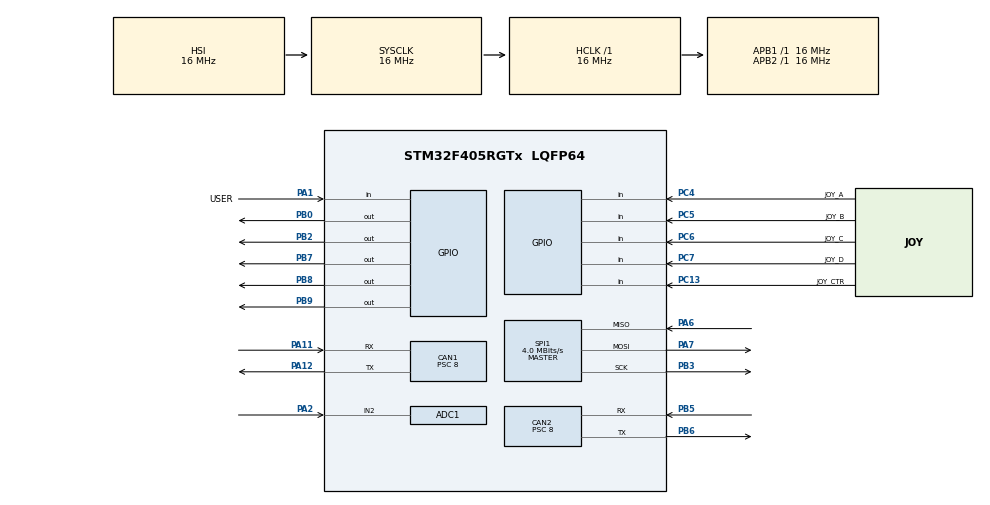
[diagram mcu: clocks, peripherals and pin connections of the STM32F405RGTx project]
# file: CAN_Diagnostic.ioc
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ADC1.Channel-0\#ChannelRegularConversion=ADC_CHANNEL_2
ADC1.NbrOfConversionFlag=1
ADC1.Rank-0\#ChannelRegularConversion=1
ADC1.SamplingTime-0\#ChannelRegularConversion=ADC_SAMPLETIME_3CYCLES
ADC1.master=1
CAN1.BS1=CAN_BS1_2TQ
CAN1.CalculateBaudRate=500000
CAN1.CalculateTimeBit=2000.00
CAN1.CalculateTimeQuantum=500.0
CAN1.Prescaler=8
CAN2.BS1=CAN_BS1_2TQ
CAN2.CalculateBaudRate=500000
CAN2.CalculateTimeBit=2000.00
CAN2.CalculateTimeQuantum=500.0
CAN2.Prescaler=8
Mcu.Family=STM32F4
Mcu.Name=STM32F405RGTx
Mcu.Package=LQFP64
NVIC.CAN1_RX0_IRQn=true\:0\:0\:false\:false\:true\:true\:true
NVIC.CAN2_RX0_IRQn=true\:0\:0\:false\:false\:true\:true\:true
NVIC.PriorityGroup=NVIC_PRIORITYGROUP_4
NVIC.TIM2_IRQn=true\:0\:0\:false\:false\:true\:true\:true
PA1.GPIO_Label=USER
PA1.GPIO_PuPd=GPIO_PULLUP
PA1.Signal=GPIO_Input
PA11.GPIO_PuPd=GPIO_PULLUP
PA11.Mode=CAN_Activate
PA11.Signal=CAN1_RX
PA12.GPIO_PuPd=GPIO_PULLUP
PA12.Mode=CAN_Activate
PA12.Signal=CAN1_TX
PA2.Signal=ADCx_IN2
PA6.Mode=Full_Duplex_Master
PA6.Signal=SPI1_MISO
PA7.Mode=Full_Duplex_Master
PA7.Signal=SPI1_MOSI
PB0.Signal=GPIO_Output
PB2.Signal=GPIO_Output
PB3.Mode=Full_Duplex_Master
PB3.Signal=SPI1_SCK
PB5.GPIO_PuPd=GPIO_PULLUP
PB5.Mode=CAN_Activate
PB5.Signal=CAN2_RX
PB6.GPIO_PuPd=GPIO_PULLUP
PB6.Mode=CAN_Activate
PB6.Signal=CAN2_TX
PB7.Signal=GPIO_Output
PB8.Signal=GPIO_Output
PB9.Signal=GPIO_Output
PC10.Signal=USART3_TX
PC11.Signal=USART3_RX
PC13-ANTI_TAMP.GPIO_Label=JOY_CTR
PC13-ANTI_TAMP.GPIO_PuPd=GPIO_PULLUP
PC13-ANTI_TAMP.Signal=GPIO_Input
PC4.GPIO_Label=JOY_A
PC4.GPIO_PuPd=GPIO_PULLUP
PC4.Signal=GPIO_Input
PC5.GPIO_Label=JOY_B
PC5.GPIO_PuPd=GPIO_PULLUP
PC5.Signal=GPIO_Input
PC6.GPIO_Label=JOY_C
PC6.GPIO_PuPd=GPIO_PULLUP
PC6.Signal=GPIO_Input
PC7.GPIO_Label=JOY_D
PC7.GPIO_PuPd=GPIO_PULLUP
PC7.Signal=GPIO_Input
ProjectManager.HeapSize=0x200
ProjectManager.StackSize=0x400
ProjectManager.TargetToolchain=STM32CubeIDE
RCC.AHBFreq_Value=16000000
RCC.APB1Freq_Value=16000000
RCC.APB2Freq_Value=16000000
RCC.CortexFreq_Value=16000000
RCC.HSE_VALUE=25000000
RCC.HSI_VALUE=16000000
RCC.LSE_VALUE=32768
RCC.SYSCLKFreq_VALUE=16000000
RCC.VCOOutputFreq_Value=192000000
SH.ADCx_IN2.0=ADC1_IN2,IN2
SPI1.BaudRatePrescaler=SPI_BAUDRATEPRESCALER_4
SPI1.CLKPolarity=SPI_POLARITY_HIGH
SPI1.CalculateBaudRate=4.0 MBits/s
SPI1.Direction=SPI_DIRECTION_2LINES
SPI1.Mode=SPI_MODE_MASTER
SPI1.VirtualType=VM_MASTER
TIM2.Period=9999
TIM2.Prescaler=15
VP_TIM2_VS_ClockSourceINT.Mode=Internal
board=custom

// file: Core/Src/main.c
/* USER CODE BEGIN Header */
/**
  ******************************************************************************
  * @file           : main.c
  * @brief          : Main program body
  ******************************************************************************
  * @attention
  *
  * <h2><center>&copy; Copyright (c) 2023 STMicroelectronics.
  * All rights reserved.</center></h2>
  *
  * This software component is licensed by ST under BSD 3-Clause license,
  * the "License"; You may not use this file except in compliance with the
  * License. You may obtain a copy of the License at:
  *                        opensource.org/licenses/BSD-3-Clause
  *
  ******************************************************************************
  */
/* USER CODE END Header */
#include "main.h"

/* USER CODE BEGIN Includes */
#include "joystick.h"
#include "software_timer.h"
#include <stdio.h>
#include <stdlib.h>
#include <time.h>
#include "LCD_driver.h"
#include "LCD_lib.h"
#include "fonts.h"
#include "st7789.h"
/* USER CODE END Includes */

/* USER CODE BEGIN PD */
#define WAIT_KEY_TIMEOUT		5000 //milisecond
#define NUM_OF_MAX_DATA_STORAGE	16

#define SERVICE_22		1
#define SERVICE_2E		2
#define SERVICE_27		3

#define CURRENT_SERVICE SERVICE_27
/* USER CODE END PD */

ADC_HandleTypeDef hadc1;

CAN_HandleTypeDef hcan1;
CAN_HandleTypeDef hcan2;

SPI_HandleTypeDef hspi1;

TIM_HandleTypeDef htim2;

void SystemClock_Config(void);
static void MX_GPIO_Init(void);
static void MX_CAN1_Init(void);
static void MX_TIM2_Init(void);
static void MX_SPI1_Init(void);
static void MX_CAN2_Init(void);
static void MX_ADC1_Init(void);

/* USER CODE BEGIN 0 */

CAN_TxHeaderTypeDef TxHeader;
CAN_RxHeaderTypeDef RxHeader;

uint8_t TxData[8] = {0};
uint8_t RxData[8];

uint32_t TxMailbox;

CAN_TxHeaderTypeDef TxHeader2;
CAN_RxHeaderTypeDef RxHeader2;

uint8_t TxData2[8] = {0};
uint8_t RxData2[8];

uint32_t TxMailbox2;

int dataflag = 0;
int dataflag2 = 0;

int isFf = 0;
char buffer[50];
uint32_t ADCValue = 0;

uint8_t	dataStorage[NUM_OF_MAX_DATA_STORAGE] = {0};
int dataLength = 0;

uint8_t CFdata = 0;

//variable for ECU
uint8_t 	service 		= 0x00;
uint16_t 	dataCount 		= 0;
int			CF_sending_flag = 0; //flag indicate Consecutive Frame sending is not done
int			state 		= 0;

//variable for TESTER
int 		joyPressed 		= 0; // flag for any joystick is pressed
uint8_t	dataToSend[6];
int 		seedRequested	= 0;
int		keySent			= 0;

void HAL_CAN_RxFifo0MsgPendingCallback(CAN_HandleTypeDef *hcan);
void HAL_TIM_PeriodElapsedCallback(TIM_HandleTypeDef *htim);

void rq_sv22(){
	TxData2[0] = 0x03;
	TxData2[1] = 0x22;
	TxData2[2] = 0xF0;
	TxData2[3] = 0x01;

	HAL_CAN_AddTxMessage(&hcan2, &TxHeader2, TxData2, &TxMailbox2);
}

void do_sv22(){
	HAL_ADC_Start(&hadc1);
	ADCValue = HAL_ADC_GetValue(&hadc1);
	TxData[0] = 0x07; //0 7
	TxData[1] = 0x62;
	TxData[2] = 0xF0;
	TxData[3] = 0x01;

	TxData[4] = ADCValue >> 24;
	TxData[5] = ADCValue >> 16;
	TxData[6] = ADCValue >> 8;
	TxData[7] = ADCValue;

	HAL_CAN_AddTxMessage(&hcan1, &TxHeader, TxData, &TxMailbox);
}

void do_sv2E(){
	sprintf(buffer,"%#04x %#04x %#04x %#04x %#04x %#04x",
			dataStorage[5], dataStorage[6], dataStorage[7], dataStorage[8], dataStorage[9], dataStorage[10]);
	ST7789_WriteString(10, 20, buffer, Font_7x10, WHITE, BLACK);
	TxData[0] = 0x02;
	TxData[1] = 0x6E;
	TxData[2] = 0x01;

	HAL_CAN_AddTxMessage(&hcan1, &TxHeader, TxData, &TxMailbox);
}

void do_sv27(){
	if(seedRequested&&!keySent){
		TxData[0] = 0x06;
		TxData[1] = 0x67;
		TxData[2] = 0x01;
		TxData[3] = (rand()-1) % 0xFF + 1;
		TxData[4] = (rand()-1) % 0xFF + 1;
		TxData[5] = (rand()-1) % 0xFF + 1;
		TxData[6] = (rand()-1) % 0xFF + 1;
		HAL_CAN_AddTxMessage(&hcan1, &TxHeader, TxData, &TxMailbox);
	}else if(seedRequested&&keySent){
		if((RxData[3] == TxData[3] + 1
			&& RxData[4] == TxData[4] + 1)
			&&(RxData[5] == TxData[5] + 1
			&& RxData[6] == TxData[6] + 1))
		{
			HAL_GPIO_WritePin(GPIOB, GPIO_PIN_0, SET);
			TxData[0] = 0x02;
			TxData[1] = 0x67;
			TxData[2] = 0x02;
			HAL_CAN_AddTxMessage(&hcan1, &TxHeader, TxData, &TxMailbox);
		}else{
			HAL_Delay(10000);
		}
	}
}

/* USER CODE END 0 */

int main(void)
{

  /* MCU Configuration--------------------------------------------------------*/

  /* Reset of all peripherals, Initializes the Flash interface and the Systick. */
  HAL_Init();

  /* Configure the system clock */
  SystemClock_Config();

  /* Initialize all configured peripherals */
  MX_GPIO_Init();
  MX_CAN1_Init();
  MX_TIM2_Init();
  MX_SPI1_Init();
  MX_CAN2_Init();
  MX_ADC1_Init();
  /* USER CODE BEGIN 2 */
//  HAL_ADC_Start_IT(&hadc1);
  HAL_CAN_Start(&hcan1);
  HAL_CAN_Start(&hcan2);
  HAL_CAN_ActivateNotification(&hcan1, CAN_IT_RX_FIFO0_MSG_PENDING);
  HAL_CAN_ActivateNotification(&hcan2, CAN_IT_RX_FIFO0_MSG_PENDING);

  HAL_TIM_Base_Start_IT(&htim2);
  HAL_ADC_Start(&hadc1);

  TxHeader.DLC = 8;
  TxHeader.IDE = CAN_ID_STD;
  TxHeader.RTR = CAN_RTR_DATA;
  TxHeader.StdId = 0x7A2;		//response ID

  TxHeader2.DLC = 8;
  TxHeader2.IDE = CAN_ID_STD;
  TxHeader2.RTR = CAN_RTR_DATA;
  TxHeader2.StdId = 0x712;		//request ID

  /* USER CODE END 2 */

  /* Infinite loop */
  /* USER CODE BEGIN WHILE */
  srand(time(NULL)); // Call for initialize random function
  set_timer0(1000);

  // service 27 key variable

  lcd_init();
  ST7789_Init();

  sprintf(buffer, "HELLO WORLD");
  ST7789_WriteString(10, 20, buffer, Font_7x10, WHITE, BLACK);
  int currentService = SERVICE_22;
  while (1)
  {
	  if(is_joy_pressed(USER_BUTTON)){
		  currentService++;
		  if(currentService==4){
			  currentService = 1;
		  }
	  }
    /* USER CODE END WHILE */

    /* USER CODE BEGIN 3 */
	  //todo:ECU
	  switch(currentService){
	  case SERVICE_22:
		  sprintf(buffer,"SERVICE 22");
		  ST7789_WriteString(10, 200, buffer, Font_11x18, WHITE, BLACK);
		  if(dataflag){
			  dataflag = 0;
			  do_sv22();
		  }
		  break;
	  case SERVICE_2E:
		  sprintf(buffer,"SERVICE 2E");
		  ST7789_WriteString(10, 200, buffer, Font_11x18, WHITE, BLACK);
		  if(dataflag){
			  dataflag = 0;
			  do_sv2E();
		  }
		  break;
	  case SERVICE_27:
		  sprintf(buffer,"SERVICE 27");
		  ST7789_WriteString(10, 200, buffer, Font_11x18, WHITE, BLACK);
		  if(dataflag){
			  dataflag = 0;
			  do_sv27();
		  }
		  break;
	  default:
		  break;
	  }
	  //todo: TESTER

	  switch(currentService){
	  case SERVICE_22:
		  if(timer0Flag){
			  set_timer0(1000);
			  rq_sv22();
		  }
		  if(dataflag2){
			  dataflag2 = 0;
			  uint32_t received;
			  for(int i = 0 ; i<4; i++){
				  received = received << 8;
				  received = received + RxData2[i+4];
			  }
			  sprintf(buffer, "ADC Value: %ld", received);
			  ST7789_WriteString(10, 40, buffer, Font_7x10, WHITE, BLACK);
		  }
		  break;
	  case SERVICE_2E:
		  if(is_joy_pressed(JOY_LEFT)){
			  CFdata = 0xAA;
			  joyPressed = 1;
		  }
		  if(is_joy_pressed(JOY_RIGHT)){
			  CFdata = 0xFF;
			  joyPressed = 1;
		  }
		  if(is_joy_pressed(JOY_CTR)){
			  CFdata = 0x00;
			  joyPressed = 1;
		  }
		  if(joyPressed){
			  joyPressed = 0;
			  TxData2[0] = 0x10;
			  TxData2[1] = 0x09;
			  TxData2[2] = 0x2E;
			  TxData2[3] = 0xF0;
			  TxData2[4] = 0x02;
			  TxData2[5] = CFdata;
			  TxData2[6] = CFdata;
			  TxData2[7] = CFdata;
			  HAL_CAN_AddTxMessage(&hcan2, &TxHeader2, TxData2, &TxMailbox2);
		  }
		  if(dataflag2){
			  dataflag2 = 0;
		  }
		  break;
	  case SERVICE_27:
		  if(!seedRequested){
			  TxData2[0] = 0x02;
			  TxData2[1] = 0x27;
			  TxData2[2] = 0x01;
			  HAL_CAN_AddTxMessage(&hcan2, &TxHeader2, TxData2, &TxMailbox2);
			  seedRequested = 1;
		  }else
			  if(!keySent&&dataflag2){
				  dataflag2 = 0;
				  TxData2[0] = 0x06;
				  TxData2[1] = 0x27;
				  TxData2[2] = 0x02;
				  TxData2[3] = RxData2[3] + 1;
				  TxData2[4] = RxData2[4] + 1;
				  TxData2[5] = RxData2[5] + 1;
				  TxData2[6] = RxData2[6] + 1;
				  HAL_CAN_AddTxMessage(&hcan2, &TxHeader2, TxData2, &TxMailbox2);
				  keySent = 1;
			  }
		  break;

	  default:
		  break;
	  }
  }
  /* USER CODE END 3 */
}

void SystemClock_Config(void)
{
  RCC_OscInitTypeDef RCC_OscInitStruct = {0};
  RCC_ClkInitTypeDef RCC_ClkInitStruct = {0};

  /** Configure the main internal regulator output voltage
  */
  __HAL_RCC_PWR_CLK_ENABLE();
  __HAL_PWR_VOLTAGESCALING_CONFIG(PWR_REGULATOR_VOLTAGE_SCALE1);
  /** Initializes the RCC Oscillators according to the specified parameters
  * in the RCC_OscInitTypeDef structure.
  */
  RCC_OscInitStruct.OscillatorType = RCC_OSCILLATORTYPE_HSI;
  RCC_OscInitStruct.HSIState = RCC_HSI_ON;
  RCC_OscInitStruct.HSICalibrationValue = RCC_HSICALIBRATION_DEFAULT;
  RCC_OscInitStruct.PLL.PLLState = RCC_PLL_NONE;
  if (HAL_RCC_OscConfig(&RCC_OscInitStruct) != HAL_OK)
  {
    Error_Handler();
  }
  /** Initializes the CPU, AHB and APB buses clocks
  */
  RCC_ClkInitStruct.ClockType = RCC_CLOCKTYPE_HCLK|RCC_CLOCKTYPE_SYSCLK
                              |RCC_CLOCKTYPE_PCLK1|RCC_CLOCKTYPE_PCLK2;
  RCC_ClkInitStruct.SYSCLKSource = RCC_SYSCLKSOURCE_HSI;
  RCC_ClkInitStruct.AHBCLKDivider = RCC_SYSCLK_DIV1;
  RCC_ClkInitStruct.APB1CLKDivider = RCC_HCLK_DIV1;
  RCC_ClkInitStruct.APB2CLKDivider = RCC_HCLK_DIV1;

  if (HAL_RCC_ClockConfig(&RCC_ClkInitStruct, FLASH_LATENCY_0) != HAL_OK)
  {
    Error_Handler();
  }
}

static void MX_ADC1_Init(void)
{

  ADC_ChannelConfTypeDef sConfig = {0};

  /** Configure the global features of the ADC (Clock, Resolution, Data Alignment and number of conversion)
  */
  hadc1.Instance = ADC1;
  hadc1.Init.ClockPrescaler = ADC_CLOCK_SYNC_PCLK_DIV2;
  hadc1.Init.Resolution = ADC_RESOLUTION_12B;
  hadc1.Init.ScanConvMode = DISABLE;
  hadc1.Init.ContinuousConvMode = DISABLE;
  hadc1.Init.DiscontinuousConvMode = DISABLE;
  hadc1.Init.ExternalTrigConvEdge = ADC_EXTERNALTRIGCONVEDGE_NONE;
  hadc1.Init.ExternalTrigConv = ADC_SOFTWARE_START;
  hadc1.Init.DataAlign = ADC_DATAALIGN_RIGHT;
  hadc1.Init.NbrOfConversion = 1;
  hadc1.Init.DMAContinuousRequests = DISABLE;
  hadc1.Init.EOCSelection = ADC_EOC_SINGLE_CONV;
  if (HAL_ADC_Init(&hadc1) != HAL_OK)
  {
    Error_Handler();
  }
  /** Configure for the selected ADC regular channel its corresponding rank in the sequencer and its sample time.
  */
  sConfig.Channel = ADC_CHANNEL_2;
  sConfig.Rank = 1;
  sConfig.SamplingTime = ADC_SAMPLETIME_3CYCLES;
  if (HAL_ADC_ConfigChannel(&hadc1, &sConfig) != HAL_OK)
  {
    Error_Handler();
  }

}

static void MX_CAN1_Init(void)
{

  hcan1.Instance = CAN1;
  hcan1.Init.Prescaler = 8;
  hcan1.Init.Mode = CAN_MODE_NORMAL;
  hcan1.Init.SyncJumpWidth = CAN_SJW_1TQ;
  hcan1.Init.TimeSeg1 = CAN_BS1_2TQ;
  hcan1.Init.TimeSeg2 = CAN_BS2_1TQ;
  hcan1.Init.TimeTriggeredMode = DISABLE;
  hcan1.Init.AutoBusOff = DISABLE;
  hcan1.Init.AutoWakeUp = DISABLE;
  hcan1.Init.AutoRetransmission = DISABLE;
  hcan1.Init.ReceiveFifoLocked = DISABLE;
  hcan1.Init.TransmitFifoPriority = DISABLE;
  if (HAL_CAN_Init(&hcan1) != HAL_OK)
  {
    Error_Handler();
  }
  /* USER CODE BEGIN CAN1_Init 2 */
  CAN_FilterTypeDef canfilterconfig1;

  canfilterconfig1.FilterActivation = CAN_FILTER_ENABLE;
  canfilterconfig1.FilterBank = 0;  // which filter bank to use from the assigned ones
  canfilterconfig1.FilterFIFOAssignment = CAN_FILTER_FIFO0;
  canfilterconfig1.FilterIdHigh = 0;
  canfilterconfig1.FilterIdLow = 0;
  canfilterconfig1.FilterMaskIdHigh = 0;
  canfilterconfig1.FilterMaskIdLow = 0x0000;
  canfilterconfig1.FilterMode = CAN_FILTERMODE_IDMASK;
  canfilterconfig1.FilterScale = CAN_FILTERSCALE_32BIT;
  canfilterconfig1.SlaveStartFilterBank = 14;  // how many filters to assign to the CAN1 (master can)

  HAL_CAN_ConfigFilter(&hcan1, &canfilterconfig1);

  /* USER CODE END CAN1_Init 2 */

}

static void MX_CAN2_Init(void)
{

  hcan2.Instance = CAN2;
  hcan2.Init.Prescaler = 8;
  hcan2.Init.Mode = CAN_MODE_NORMAL;
  hcan2.Init.SyncJumpWidth = CAN_SJW_1TQ;
  hcan2.Init.TimeSeg1 = CAN_BS1_2TQ;
  hcan2.Init.TimeSeg2 = CAN_BS2_1TQ;
  hcan2.Init.TimeTriggeredMode = DISABLE;
  hcan2.Init.AutoBusOff = DISABLE;
  hcan2.Init.AutoWakeUp = DISABLE;
  hcan2.Init.AutoRetransmission = DISABLE;
  hcan2.Init.ReceiveFifoLocked = DISABLE;
  hcan2.Init.TransmitFifoPriority = DISABLE;
  if (HAL_CAN_Init(&hcan2) != HAL_OK)
  {
    Error_Handler();
  }
  /* USER CODE BEGIN CAN2_Init 2 */
  CAN_FilterTypeDef canfilterconfig2;

    canfilterconfig2.FilterActivation = CAN_FILTER_ENABLE;
    canfilterconfig2.FilterBank = 14;  // which filter bank to use from the assigned ones
    canfilterconfig2.FilterFIFOAssignment = CAN_FILTER_FIFO0;
    canfilterconfig2.FilterIdHigh = 0;
    canfilterconfig2.FilterIdLow = 0;
    canfilterconfig2.FilterMaskIdHigh = 0;
    canfilterconfig2.FilterMaskIdLow = 0x0000;
    canfilterconfig2.FilterMode = CAN_FILTERMODE_IDMASK;
    canfilterconfig2.FilterScale = CAN_FILTERSCALE_32BIT;
    canfilterconfig2.SlaveStartFilterBank = 14;  // how many filters to assign to the CAN1 (master can)

    HAL_CAN_ConfigFilter(&hcan2, &canfilterconfig2);

  /* USER CODE END CAN2_Init 2 */

}

static void MX_SPI1_Init(void)
{

  /* SPI1 parameter configuration*/
  hspi1.Instance = SPI1;
  hspi1.Init.Mode = SPI_MODE_MASTER;
  hspi1.Init.Direction = SPI_DIRECTION_2LINES;
  hspi1.Init.DataSize = SPI_DATASIZE_8BIT;
  hspi1.Init.CLKPolarity = SPI_POLARITY_HIGH;
  hspi1.Init.CLKPhase = SPI_PHASE_1EDGE;
  hspi1.Init.NSS = SPI_NSS_SOFT;
  hspi1.Init.BaudRatePrescaler = SPI_BAUDRATEPRESCALER_4;
  hspi1.Init.FirstBit = SPI_FIRSTBIT_MSB;
  hspi1.Init.TIMode = SPI_TIMODE_DISABLE;
  hspi1.Init.CRCCalculation = SPI_CRCCALCULATION_DISABLE;
  hspi1.Init.CRCPolynomial = 10;
  if (HAL_SPI_Init(&hspi1) != HAL_OK)
  {
    Error_Handler();
  }

}

static void MX_TIM2_Init(void)
{

  TIM_ClockConfigTypeDef sClockSourceConfig = {0};
  TIM_MasterConfigTypeDef sMasterConfig = {0};

  htim2.Instance = TIM2;
  htim2.Init.Prescaler = 15;
  htim2.Init.CounterMode = TIM_COUNTERMODE_UP;
  htim2.Init.Period = 9999;
  htim2.Init.ClockDivision = TIM_CLOCKDIVISION_DIV1;
  htim2.Init.AutoReloadPreload = TIM_AUTORELOAD_PRELOAD_DISABLE;
  if (HAL_TIM_Base_Init(&htim2) != HAL_OK)
  {
    Error_Handler();
  }
  sClockSourceConfig.ClockSource = TIM_CLOCKSOURCE_INTERNAL;
  if (HAL_TIM_ConfigClockSource(&htim2, &sClockSourceConfig) != HAL_OK)
  {
    Error_Handler();
  }
  sMasterConfig.MasterOutputTrigger = TIM_TRGO_RESET;
  sMasterConfig.MasterSlaveMode = TIM_MASTERSLAVEMODE_DISABLE;
  if (HAL_TIMEx_MasterConfigSynchronization(&htim2, &sMasterConfig) != HAL_OK)
  {
    Error_Handler();
  }

}

static void MX_GPIO_Init(void)
{
  GPIO_InitTypeDef GPIO_InitStruct = {0};

  /* GPIO Ports Clock Enable */
  __HAL_RCC_GPIOC_CLK_ENABLE();
  __HAL_RCC_GPIOA_CLK_ENABLE();
  __HAL_RCC_GPIOB_CLK_ENABLE();

  /*Configure GPIO pin Output Level */
  HAL_GPIO_WritePin(GPIOB, GPIO_PIN_0|GPIO_PIN_2|GPIO_PIN_7|GPIO_PIN_8
                          |GPIO_PIN_9, GPIO_PIN_RESET);

  /*Configure GPIO pins : JOY_CTR_Pin JOY_A_Pin JOY_B_Pin JOY_C_Pin
                           JOY_D_Pin */
  GPIO_InitStruct.Pin = JOY_CTR_Pin|JOY_A_Pin|JOY_B_Pin|JOY_C_Pin
                          |JOY_D_Pin;
  GPIO_InitStruct.Mode = GPIO_MODE_INPUT;
  GPIO_InitStruct.Pull = GPIO_PULLUP;
  HAL_GPIO_Init(GPIOC, &GPIO_InitStruct);

  /*Configure GPIO pin : USER_Pin */
  GPIO_InitStruct.Pin = USER_Pin;
  GPIO_InitStruct.Mode = GPIO_MODE_INPUT;
  GPIO_InitStruct.Pull = GPIO_PULLUP;
  HAL_GPIO_Init(USER_GPIO_Port, &GPIO_InitStruct);

  /*Configure GPIO pins : PB0 PB2 PB7 PB8
                           PB9 */
  GPIO_InitStruct.Pin = GPIO_PIN_0|GPIO_PIN_2|GPIO_PIN_7|GPIO_PIN_8
                          |GPIO_PIN_9;
  GPIO_InitStruct.Mode = GPIO_MODE_OUTPUT_PP;
  GPIO_InitStruct.Pull = GPIO_NOPULL;
  GPIO_InitStruct.Speed = GPIO_SPEED_FREQ_LOW;
  HAL_GPIO_Init(GPIOB, &GPIO_InitStruct);

  /*Configure GPIO pins : PC10 PC11 */
  GPIO_InitStruct.Pin = GPIO_PIN_10|GPIO_PIN_11;
  GPIO_InitStruct.Mode = GPIO_MODE_AF_PP;
  GPIO_InitStruct.Pull = GPIO_NOPULL;
  GPIO_InitStruct.Speed = GPIO_SPEED_FREQ_VERY_HIGH;
  GPIO_InitStruct.Alternate = GPIO_AF7_USART3;
  HAL_GPIO_Init(GPIOC, &GPIO_InitStruct);

}

/* USER CODE BEGIN 4 */
void HAL_TIM_PeriodElapsedCallback(TIM_HandleTypeDef *htim){
	get_joystick();
	timer_run();
}

void HAL_CAN_RxFifo0MsgPendingCallback(CAN_HandleTypeDef *hcan){
	if(hcan->Instance == CAN1){
		if(HAL_CAN_GetRxMessage(hcan, CAN_RX_FIFO0, &RxHeader, RxData)==HAL_OK){
			dataflag = 1;
			if(isFf){
				isFf = 0;
				for(int i = 1; i<4; i++){
					dataStorage[i+7] = RxData[i];
				}
			}else{
				for(int i = 0; i<8; i++){
					dataStorage[i] = RxData[i];
				}
			}
			if(((RxData[0])&0xF0 )== 0x10){
				dataflag = 0;
				isFf = 1;
				TxData[0] = 0x30; 	//FT: flow control, Frame State: continue to send
				TxData[1] = 0x08;	//BS: max 8 CFs till next FC
				TxData[2] = 0x19; 	//STmin: 25ms
				HAL_CAN_AddTxMessage(&hcan1, &TxHeader, TxData, &TxMailbox);
			}
		}else{
			Error_Handler();
		}
	}
	if(hcan->Instance == CAN2){
		if(HAL_CAN_GetRxMessage(hcan, CAN_RX_FIFO0, &RxHeader2, RxData2)==HAL_OK){
			dataflag2 = 1;
			if(((RxData2[0])&0xF0 )== 0x30){
				dataflag2 = 0;
				isFf = 1;
				TxData2[0] = 0x21; 	//FT: flow control, Frame State: continue to send
				TxData2[1] = CFdata;
				TxData2[2] = CFdata;
				TxData2[3] = CFdata;
				HAL_CAN_AddTxMessage(&hcan2, &TxHeader2, TxData2, &TxMailbox2);
			}
		}else{
			Error_Handler();
		}
	}
}
/* USER CODE END 4 */

void Error_Handler(void)
{
  __disable_irq();
  while (1)
  {
  }
}

/************************ (C) COPYRIGHT STMicroelectronics *****END OF FILE****/
